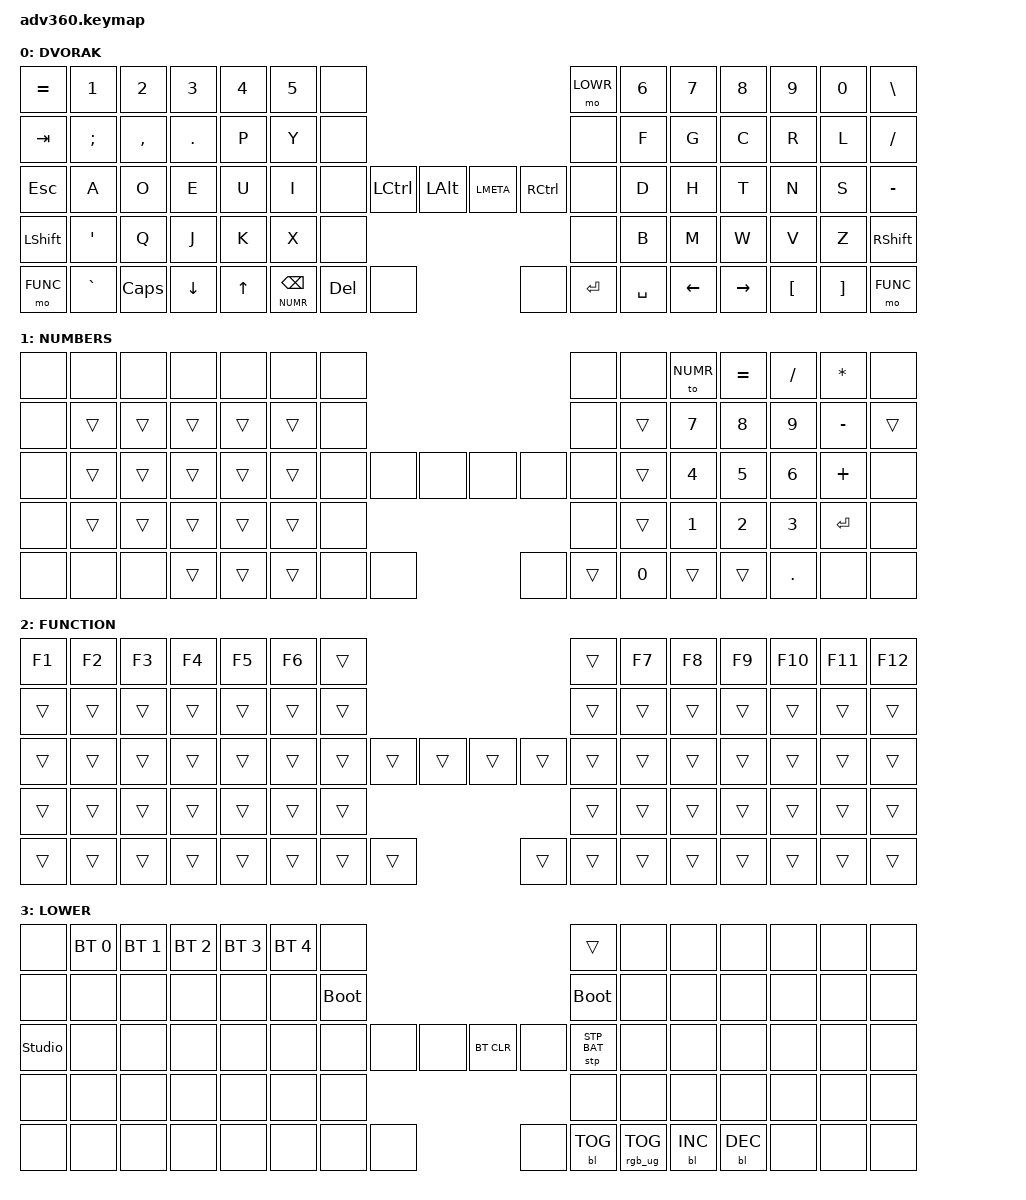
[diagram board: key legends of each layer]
#include <behaviors.dtsi>
#include <dt-bindings/zmk/keys.h>
#include <dt-bindings/zmk/bt.h>
#include <dt-bindings/zmk/rgb.h>
#include <dt-bindings/zmk/stp.h>
#include <dt-bindings/zmk/backlight.h>
#include <dt-bindings/zmk/pointing.h>

// ─────────────────────────────────────────────────────────────────────────────────────────────────────────────────────────────────────────────────

#define DVRK                    0
#define NUMR                    1
#define FUNC                    2
#define LOWR                    3

// ─────────────────────────────────────────────────────────────────────────────────────────────────────────────────────────────────────────────────

#define __                      &none
#define xx                      &trans

// ─────────────────────────────────────────────────────────────────────────────────────────────────────────────────────────────────────────────────

#define QUICK_TAP_MS            175
#define TAPPING_TERM_MS         125
#define STICKY_KEY_RELEASE_MS   300

// ─────────────────────────────────────────────────────────────────────────────────────────────────────────────────────────────────────────────────

#define KEYS_L                  0 1 2 3 4 5 6 \
                                14 15 16 17 18 19 20 \
                                28 29 30 31 32 33 34 \
                                46 47 48 49 50 51 \
                                60 61 62 63 64

#define KEYS_R                  7 8 9 10 11 12 13 \
                                21 22 23 24 25 26 27 \
                                39 40 41 42 43 44 45 \
                                54 55 56 57 58 59 \
                                71 72 73 74 75

#define THUMBS_L                35 36 52 65 66 67
#define THUMBS_R                37 38 53 68 69 70

// ─────────────────────────────────────────────────────────────────────────────────────────────────────────────────────────────────────────────────

// #define MAKE_QLT(NAME, HOLD, TAP) \
    // ZMK_HOLD_TAP(NAME, \
        // flavor = "hold-preferred"; \
        // tapping-term-ms = <TAPPING_TERM_MS>; \
        // quick-tap-ms = <QUICK_TAP_MS>; \
        // bindings = <HOLD>, <TAP>; \
        // retro-tap; \
    // )

// MAKE_QLT(qlt, &mo, &kp)

// ─────────────────────────────────────────────────────────────────────────────────────────────────────────────────────────────────────────────────

/ {
  
    behaviors {

      #include "macros.dtsi"
      #include "version.dtsi"

      qlt: quick_layer_tap {
        compatible = "zmk,behavior-hold-tap";
        #binding-cells = <2>;
        flavor = "hold-preferred";
        tapping-term-ms = <TAPPING_TERM_MS>;
        quick-tap-ms = <QUICK_TAP_MS>;
        bindings = <&mo>, <&kp>;
        display-name = "Quick-Layer-Tap";
      };

      // OPLUS: number_one_plus {
              // compatible = "zmk,behavior-mod-morph";
              // label = "number_one_plus";
              // #binding-cells = <0>;
              // bindings = <&kp N1>, <&kp PLUS>;
              // mods = <(MOD_LSFT|MOD_RSFT)>;
            // };


    };

  keymap {
    compatible = "zmk,keymap";

    DVORAK {
      display-name = "DVORAK";
      bindings = <
//     ╭─────────┬─────────────┬─────────────┬─────────────┬─────────────┬─────────────┬─────────╮                                                  ╭─────────┬─────────────┬─────────────┬─────────────┬─────────────┬─────────────┬─────────╮
         &kp EQUAL    &kp N1        &kp N2       &kp N3        &kp N4         &kp N5       __                                                         &mo LOWR    &kp N6        &kp N7        &kp N8         &kp N9       &kp N0     &kp BSLH
//     ├─────────┼─────────────┼─────────────┼─────────────┼─────────────┼─────────────┼─────────┤                                                  ├─────────┼─────────────┼─────────────┼─────────────┼─────────────┼─────────────┼─────────┤
         &kp TAB     &kp SEMI     &kp COMMA      &kp DOT        &kp P         &kp Y        __                                                            __        &kp F         &kp G         &kp C         &kp R         &kp L     &kp FSLH
//     ├─────────┼─────────────┼─────────────┼─────────────┼─────────────┼─────────────┼─────────┤   ╭─────────┬─────────╮ ╭─────────┬─────────╮    ├─────────┼─────────────┼─────────────┼─────────────┼─────────────┼─────────────┼─────────┤
         &kp ESC      &kp A         &kp O         &kp E         &kp U         &kp I        __         &kp LCTRL  &kp LALT   &kp LMETA  &kp RCTRL         __        &kp D         &kp H         &kp T         &kp N         &kp S     &kp MINUS
//     ├─────────┼─────────────┼─────────────┼─────────────┼─────────────┼─────────────┼─────────╯             ├─────────┤ ├─────────┤              ╰─────────┼─────────────┼─────────────┼─────────────┼─────────────┼─────────────┼─────────┤
         &kp LSHFT   &kp SQT        &kp Q         &kp J         &kp K         &kp X                                 __          __                                 &kp B         &kp M         &kp W         &kp V         &kp Z     &kp RSHFT
//     ├─────────┼─────────────┼─────────────┼─────────────┼─────────────┼─────────────╯ ╭───────────┬─────────┼─────────┤ ├─────────┼─────────┬───────────╮  ╰─────────────┼─────────────┼─────────────┼─────────────┼─────────────┼─────────┤
         &mo FUNC   &kp GRAVE      &kp CAPS      &kp DOWN      &kp UP                   &qlt NUMR BSPC  &kp DEL     __          __     &kp RET   &kp SPACE                      &kp LEFT     &kp RIGHT     &kp LBKT       &kp RBKT   &mo FUNC
//     ╰─────────┴─────────────┴─────────────┴─────────────┴─────────────╯               ╰───────────┴─────────┴─────────╯ ╰─────────┴─────────┴───────────╯                ╰─────────────┴─────────────┴─────────────┴─────────────┴─────────╯
      >;
    };

    NUMBERS {
      display-name = "NUMBERS";
      bindings = <
//     ╭─────────┬─────────────┬─────────────┬─────────────┬─────────────┬─────────────┬─────────╮                                                   ╭─────────┬─────────────┬─────────────┬─────────────┬─────────────┬─────────────┬─────────╮
           __           __           __            __             __           __          __                                                            __          __         &to NUMR      &kp EQUAL     &kp SLASH    &kp ASTERISK    __
//     ├─────────┼─────────────┼─────────────┼─────────────┼─────────────┼─────────────┼─────────┤                                                   ├─────────┼─────────────┼─────────────┼─────────────┼─────────────┼─────────────┼─────────┤
           __           xx           xx            xx             xx           xx          __                                                            __          xx          &kp N7        &kp N8        &kp N9       &kp MINUS      xx
//     ├─────────┼─────────────┼─────────────┼─────────────┼─────────────┼─────────────┼─────────┤    ╭─────────┬─────────╮ ╭─────────┬─────────╮    ├─────────┼─────────────┼─────────────┼─────────────┼─────────────┼─────────────┼─────────┤
           __           xx           xx            xx             xx           xx          __             __        __          __         __            __          xx          &kp N4        &kp N5        &kp N6       &kp PLUS       __
//     ├─────────┼─────────────┼─────────────┼─────────────┼─────────────┼─────────────┼─────────╯              ├─────────┤ ├─────────┤              ╰─────────┼─────────────┼─────────────┼─────────────┼─────────────┼─────────────┼─────────┤
           __           xx           xx            xx             xx           xx                                   __          __                                   xx          &kp N1        &kp N2        &kp N3       &kp ENTER      __
//     ├─────────┼─────────────┼─────────────┼─────────────┼─────────────┼─────────────╯  ╭───────────┬─────────┼─────────┤ ╭─────────┼─────────┬───────────╮  ╰─────────────┼─────────────┼─────────────┼─────────────┼─────────────┼─────────┤
           __           __           __            xx             xx                           xx         __        __          __        xx       &kp N0                          xx            xx          &kp DOT         __          __
//     ╰─────────┴─────────────┴─────────────┴─────────────┴─────────────╯                ╰───────────┴─────────┴─────────╯ ╰─────────┴─────────┴───────────╯                ╰─────────────┴─────────────┴─────────────┴─────────────┴─────────╯
      >;
    };

    FUNCTION {
      display-name = "FUNCTION";
      bindings = <
//     ╭─────────┬─────────────┬─────────────┬─────────────┬─────────────┬─────────────┬─────────╮                                                   ╭─────────┬─────────────┬─────────────┬─────────────┬─────────────┬─────────────┬─────────╮
          &kp F1      &kp F2       &kp F3        &kp F4        &kp F5        &kp F6        xx                                                            xx        &kp F7        &kp F8        &kp F9        &kp F10       &kp F11     &kp F12
//     ├─────────┼─────────────┼─────────────┼─────────────┼─────────────┼─────────────┼─────────┤                                                   ├─────────┼─────────────┼─────────────┼─────────────┼─────────────┼─────────────┼─────────┤
           xx           xx           xx            xx             xx           xx          xx                                                            xx          xx            xx            xx            xx            xx          xx
//     ├─────────┼─────────────┼─────────────┼─────────────┼─────────────┼─────────────┼─────────┤    ╭─────────┬─────────╮ ╭─────────┬─────────╮    ├─────────┼─────────────┼─────────────┼─────────────┼─────────────┼─────────────┼─────────┤
           xx           xx           xx            xx             xx           xx          xx             xx        xx          xx         xx            xx          xx            xx            xx            xx            xx          xx
//     ├─────────┼─────────────┼─────────────┼─────────────┼─────────────┼─────────────┼─────────╯              ├─────────┤ ├─────────┤              ╰─────────┼─────────────┼─────────────┼─────────────┼─────────────┼─────────────┼─────────┤
           xx           xx           xx            xx             xx           xx                                   xx          xx                                   xx            xx            xx            xx            xx          xx
//     ├─────────┼─────────────┼─────────────┼─────────────┼─────────────┼─────────────╯  ╭───────────┬─────────┼─────────┤ ╭─────────┼─────────┬───────────╮  ╰─────────────┼─────────────┼─────────────┼─────────────┼─────────────┼─────────┤
           xx           xx           xx            xx             xx                           xx         xx        xx          xx        xx          xx                           xx            xx            xx            xx          xx
//     ╰─────────┴─────────────┴─────────────┴─────────────┴─────────────╯                ╰───────────┴─────────┴─────────╯ ╰─────────┴─────────┴───────────╯                ╰─────────────┴─────────────┴─────────────┴─────────────┴─────────╯
      >;
    };

    LOWER {
      display-name = "LOWER";
      bindings = <
//     ╭─────────┬─────────────┬─────────────┬─────────────┬─────────────┬─────────────┬─────────╮                                                   ╭─────────┬─────────────┬─────────────┬─────────────┬─────────────┬─────────────┬─────────╮
           __     &bt BT_SEL 0   &bt BT_SEL 1  &bt BT_SEL 2  &bt BT_SEL 3  &bt BT_SEL 4    __                                                            xx          __            __            __            __            __          __
//     ├─────────┼─────────────┼─────────────┼─────────────┼─────────────┼─────────────┼─────────┤                                                   ├─────────┼─────────────┼─────────────┼─────────────┼─────────────┼─────────────┼─────────┤
           __           __           __            __             __           __      &bootloader                                                   &bootloader     __            __            __            __            __          __
//     ├─────────┼─────────────┼─────────────┼─────────────┼─────────────┼─────────────┼─────────┤    ╭─────────┬─────────╮ ╭─────────┬─────────╮    ├─────────┼─────────────┼─────────────┼─────────────┼─────────────┼─────────────┼─────────┤
     &studio_unlock     __           __            __             __           __          __             __        __      &bt BT_CLR     __        &stp STP_BAT    __            __            __            __            __          __
//     ├─────────┼─────────────┼─────────────┼─────────────┼─────────────┼─────────────┼─────────╯              ├─────────┤ ├─────────┤              ╰─────────┼─────────────┼─────────────┼─────────────┼─────────────┼─────────────┼─────────┤
           __           __           __            __             __           __                                   __          __                                   __            __            __            __            __          __
//     ├─────────┼─────────────┼─────────────┼─────────────┼─────────────┼─────────────╯  ╭───────────┬─────────┼─────────┤ ╭─────────┼─────────┬───────────╮  ╰─────────────┼─────────────┼─────────────┼─────────────┼─────────────┼─────────┤
           __           __           __            __             __                           __         __        __          __   &bl BL_TOG  &rgb_ug RGB_TOG                &bl BL_INC    &bl BL_DEC       __            __          __
//     ╰─────────┴─────────────┴─────────────┴─────────────┴─────────────╯                ╰───────────┴─────────┴─────────╯ ╰─────────┴─────────┴───────────╯                ╰─────────────┴─────────────┴─────────────┴─────────────┴─────────╯
      >;
    };

    extra1 { 
      display-name = "Red";    
      status = "reserved";
    };

    extra2 { 
      display-name = "Purple";    
      status = "reserved";
    };

    extra3 { 
      display-name = "Cyan";    
      status = "reserved";
    };

    extra4 { 
      display-name = "Yellow";    
      status = "reserved";
    };

  };

};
